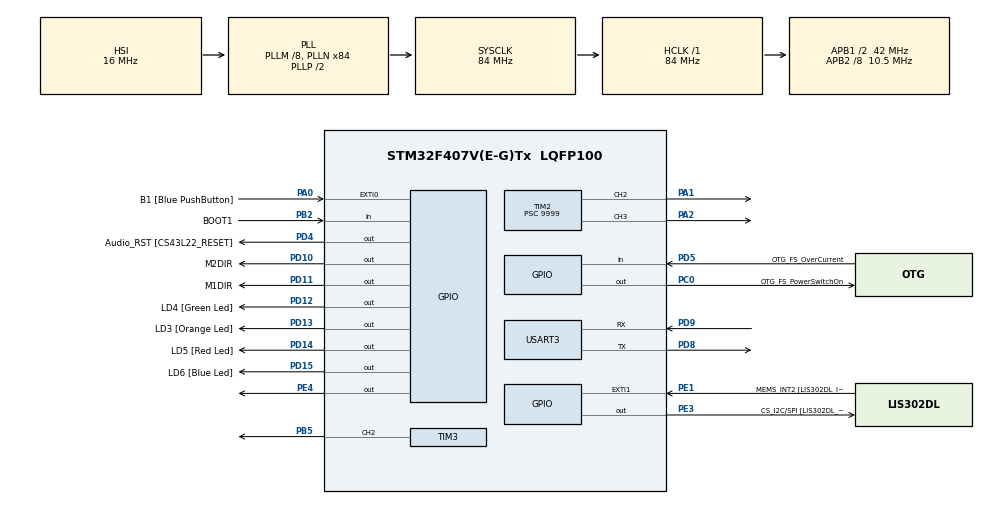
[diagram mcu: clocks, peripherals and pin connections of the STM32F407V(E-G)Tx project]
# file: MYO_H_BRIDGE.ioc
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Mcu.Family=STM32F4
Mcu.Name=STM32F407V(E-G)Tx
Mcu.Package=LQFP100
NVIC.PriorityGroup=NVIC_PRIORITYGROUP_0
PA0-WKUP.GPIO_Label=B1 [Blue PushButton]
PA0-WKUP.Signal=GPXTI0
PA1.GPIO_PuPd=GPIO_PULLUP
PA1.Signal=S_TIM2_CH2
PA10.GPIO_Label=OTG_FS_ID
PA10.GPIO_Mode=GPIO_MODE_AF_PP
PA10.GPIO_PuPd=GPIO_NOPULL
PA10.GPIO_Speed=GPIO_SPEED_FREQ_LOW
PA10.Signal=USB_OTG_FS_ID
PA11.GPIO_Label=OTG_FS_DM
PA11.GPIO_Mode=GPIO_MODE_AF_PP
PA11.GPIO_PuPd=GPIO_NOPULL
PA11.GPIO_Speed=GPIO_SPEED_FREQ_LOW
PA11.Signal=USB_OTG_FS_DM
PA12.GPIO_Label=OTG_FS_DP
PA12.GPIO_Mode=GPIO_MODE_AF_PP
PA12.GPIO_PuPd=GPIO_NOPULL
PA12.GPIO_Speed=GPIO_SPEED_FREQ_LOW
PA12.Signal=USB_OTG_FS_DP
PA13.GPIO_Label=SWDIO
PA13.Signal=SYS_JTMS-SWDIO
PA14.GPIO_Label=SWCLK
PA14.Signal=SYS_JTCK-SWCLK
PA2.GPIO_PuPd=GPIO_PULLUP
PA2.Signal=S_TIM2_CH3
PA4.GPIO_Label=I2S3_WS [CS43L22_LRCK]
PA4.GPIO_Mode=GPIO_MODE_AF_PP
PA4.GPIO_PuPd=GPIO_NOPULL
PA4.GPIO_Speed=GPIO_SPEED_FREQ_LOW
PA4.Signal=I2S3_WS
PA5.GPIO_Label=SPI1_SCK [LIS302DL_SCL/SPC]
PA5.GPIO_Mode=GPIO_MODE_AF_PP
PA5.GPIO_PuPd=GPIO_NOPULL
PA5.GPIO_Speed=GPIO_SPEED_FREQ_LOW
PA5.Signal=SPI1_SCK
PA6.GPIO_Label=SPI1_MISO [LIS302DL_SDO]
PA6.GPIO_Mode=GPIO_MODE_AF_PP
PA6.GPIO_PuPd=GPIO_NOPULL
PA6.GPIO_Speed=GPIO_SPEED_FREQ_LOW
PA6.Signal=SPI1_MISO
PA7.GPIO_Label=SPI1_MOSI [LIS302DL_SDA/SDI/SDO]
PA7.GPIO_Mode=GPIO_MODE_AF_PP
PA7.GPIO_PuPd=GPIO_NOPULL
PA7.GPIO_Speed=GPIO_SPEED_FREQ_LOW
PA7.Signal=SPI1_MOSI
PA9.GPIO_Label=VBUS_FS
PA9.GPIO_Mode=GPIO_MODE_INPUT
PA9.GPIO_PuPd=GPIO_NOPULL
PA9.Signal=USB_OTG_FS_VBUS
PB10.GPIO_Label=CLK_IN [MP45DT02_CLK]
PB10.GPIO_Mode=GPIO_MODE_AF_PP
PB10.GPIO_PuPd=GPIO_NOPULL
PB10.GPIO_Speed=GPIO_SPEED_FREQ_LOW
PB10.Signal=I2S2_CK
PB2.GPIO_Label=BOOT1
PB2.GPIO_Mode=GPIO_MODE_INPUT
PB2.GPIO_PuPd=GPIO_NOPULL
PB2.Signal=GPIO_Input
PB3.GPIO_Label=SWO
PB3.Signal=SYS_JTDO-SWO
PB5.Signal=S_TIM3_CH2
PB6.GPIO_Label=Audio_SCL [CS43L22_SCL]
PB6.GPIO_Mode=GPIO_MODE_AF_OD
PB6.GPIO_PuPd=GPIO_NOPULL
PB6.GPIO_Speed=GPIO_SPEED_FREQ_LOW
PB6.Signal=I2C1_SCL
PB9.GPIO_Label=Audio_SDA [CS43L22_SDA]
PB9.GPIO_Mode=GPIO_MODE_AF_OD
PB9.GPIO_PuPd=GPIO_NOPULL
PB9.GPIO_Speed=GPIO_SPEED_FREQ_LOW
PB9.Signal=I2C1_SDA
PC0.GPIO_Label=OTG_FS_PowerSwitchOn
PC0.GPIO_PuPd=GPIO_NOPULL
PC0.GPIO_Speed=GPIO_SPEED_FREQ_LOW
PC0.PinState=GPIO_PIN_SET
PC0.Signal=GPIO_Output
PC10.GPIO_Label=I2S3_SCK [CS43L22_SCLK]
PC10.GPIO_Mode=GPIO_MODE_AF_PP
PC10.GPIO_PuPd=GPIO_NOPULL
PC10.GPIO_Speed=GPIO_SPEED_FREQ_LOW
PC10.Signal=I2S3_CK
PC12.GPIO_Label=I2S3_SD [CS43L22_SDIN]
PC12.GPIO_Mode=GPIO_MODE_AF_PP
PC12.GPIO_PuPd=GPIO_NOPULL
PC12.GPIO_Speed=GPIO_SPEED_FREQ_LOW
PC12.Signal=I2S3_SD
PC14-OSC32_IN.GPIO_Label=PC14-OSC32_IN
PC14-OSC32_IN.Signal=RCC_OSC32_IN
PC15-OSC32_OUT.GPIO_Label=PC15-OSC32_OUT
PC15-OSC32_OUT.Signal=RCC_OSC32_OUT
PC3.GPIO_Label=PDM_OUT [MP45DT02_DOUT]
PC3.GPIO_Mode=GPIO_MODE_AF_PP
PC3.GPIO_PuPd=GPIO_NOPULL
PC3.GPIO_Speed=GPIO_SPEED_FREQ_LOW
PC3.Signal=I2S2_SD
PC7.GPIO_Label=I2S3_MCK [CS43L22_MCLK]
PC7.GPIO_Mode=GPIO_MODE_AF_PP
PC7.GPIO_PuPd=GPIO_NOPULL
PC7.GPIO_Speed=GPIO_SPEED_FREQ_LOW
PC7.Signal=I2S3_MCK
PD10.GPIO_Label=M2DIR
PD10.Signal=GPIO_Output
PD11.GPIO_Label=M1DIR
PD11.Signal=GPIO_Output
PD12.GPIO_Label=LD4 [Green Led]
PD12.GPIO_PuPd=GPIO_NOPULL
PD12.GPIO_Speed=GPIO_SPEED_FREQ_LOW
PD12.Signal=GPIO_Output
PD13.GPIO_Label=LD3 [Orange Led]
PD13.GPIO_PuPd=GPIO_NOPULL
PD13.GPIO_Speed=GPIO_SPEED_FREQ_LOW
PD13.Signal=GPIO_Output
PD14.GPIO_Label=LD5 [Red Led]
PD14.GPIO_PuPd=GPIO_NOPULL
PD14.GPIO_Speed=GPIO_SPEED_FREQ_LOW
PD14.Signal=GPIO_Output
PD15.GPIO_Label=LD6 [Blue Led]
PD15.GPIO_PuPd=GPIO_NOPULL
PD15.GPIO_Speed=GPIO_SPEED_FREQ_LOW
PD15.Signal=GPIO_Output
PD4.GPIO_Label=Audio_RST [CS43L22_RESET]
PD4.GPIO_PuPd=GPIO_NOPULL
PD4.GPIO_Speed=GPIO_SPEED_FREQ_LOW
PD4.Signal=GPIO_Output
PD5.GPIO_Label=OTG_FS_OverCurrent
PD5.GPIO_Mode=GPIO_MODE_INPUT
PD5.GPIO_PuPd=GPIO_NOPULL
PD5.Signal=GPIO_Input
PD8.Mode=Asynchronous
PD8.Signal=USART3_TX
PD9.Mode=Asynchronous
PD9.Signal=USART3_RX
PE1.GPIO_Label=MEMS_INT2 [LIS302DL_INT2]
PE1.GPIO_ModeDefaultEXTI=GPIO_MODE_EVT_RISING
PE1.GPIO_PuPd=GPIO_NOPULL
PE1.Signal=GPXTI1
PE3.GPIO_Label=CS_I2C/SPI [LIS302DL_CS_I2C/SPI]
PE3.GPIO_PuPd=GPIO_NOPULL
PE3.GPIO_Speed=GPIO_SPEED_FREQ_LOW
PE3.Signal=GPIO_Output
PE4.Signal=GPIO_Output
PH0-OSC_IN.GPIO_Label=PH0-OSC_IN
PH0-OSC_IN.Signal=RCC_OSC_IN
PH1-OSC_OUT.GPIO_Label=PH1-OSC_OUT
PH1-OSC_OUT.Signal=RCC_OSC_OUT
ProjectManager.HeapSize=0x200
ProjectManager.StackSize=0x400
ProjectManager.TargetToolchain=SW4STM32
RCC.48MHZClocksFreq_Value=24000000
RCC.AHBFreq_Value=84000000
RCC.APB1CLKDivider=RCC_HCLK_DIV2
RCC.APB1Freq_Value=42000000
RCC.APB1TimFreq_Value=84000000
RCC.APB2CLKDivider=RCC_HCLK_DIV8
RCC.APB2Freq_Value=10500000
RCC.APB2TimFreq_Value=21000000
RCC.CortexFreq_Value=84000000
RCC.HCLKFreq_Value=84000000
RCC.HSE_VALUE=8000000
RCC.HSI_VALUE=16000000
RCC.LSE_VALUE=32768
RCC.PLLM=8
RCC.PLLN=84
RCC.PLLQ=7
RCC.SYSCLKFreq_VALUE=84000000
RCC.SYSCLKSource=RCC_SYSCLKSOURCE_PLLCLK
RCC.VCOOutputFreq_Value=168000000
SH.S_TIM2_CH2.0=TIM2_CH2,PWM Generation2 CH2
SH.S_TIM2_CH3.0=TIM2_CH3,PWM Generation3 CH3
SH.S_TIM3_CH2.0=TIM3_CH2,PWM Generation2 CH2
TIM2.Channel-PWM\ Generation2\ CH2=TIM_CHANNEL_2
TIM2.Channel-PWM\ Generation3\ CH3=TIM_CHANNEL_3
TIM2.Period=299
TIM2.Prescaler=9999
TIM3.Channel-PWM\ Generation2\ CH2=TIM_CHANNEL_2
USART3.VirtualMode=VM_ASYNC
board=STM32F4DISCOVERY

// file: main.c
/**
  ******************************************************************************
  * File Name          : main.c
  * Description        : Main program body
  ******************************************************************************
  ** This notice applies to any and all portions of this file
  * that are not between comment pairs USER CODE BEGIN and
  * USER CODE END. Other portions of this file, whether
  * inserted by the user or by software development tools
  * are owned by their respective copyright owners.
  *
  * COPYRIGHT(c) 2018 STMicroelectronics
  *
  * Redistribution and use in source and binary forms, with or without modification,
  * are permitted provided that the following conditions are met:
  *   1. Redistributions of source code must retain the above copyright notice,
  *      this list of conditions and the following disclaimer.
  *   2. Redistributions in binary form must reproduce the above copyright notice,
  *      this list of conditions and the following disclaimer in the documentation
  *      and/or other materials provided with the distribution.
  *   3. Neither the name of STMicroelectronics nor the names of its contributors
  *      may be used to endorse or promote products derived from this software
  *      without specific prior written permission.
  *
  * THIS SOFTWARE IS PROVIDED BY THE COPYRIGHT HOLDERS AND CONTRIBUTORS "AS IS"
  * AND ANY EXPRESS OR IMPLIED WARRANTIES, INCLUDING, BUT NOT LIMITED TO, THE
  * IMPLIED WARRANTIES OF MERCHANTABILITY AND FITNESS FOR A PARTICULAR PURPOSE ARE
  * DISCLAIMED. IN NO EVENT SHALL THE COPYRIGHT HOLDER OR CONTRIBUTORS BE LIABLE
  * FOR ANY DIRECT, INDIRECT, INCIDENTAL, SPECIAL, EXEMPLARY, OR CONSEQUENTIAL
  * DAMAGES (INCLUDING, BUT NOT LIMITED TO, PROCUREMENT OF SUBSTITUTE GOODS OR
  * SERVICES; LOSS OF USE, DATA, OR PROFITS; OR BUSINESS INTERRUPTION) HOWEVER
  * CAUSED AND ON ANY THEORY OF LIABILITY, WHETHER IN CONTRACT, STRICT LIABILITY,
  * OR TORT (INCLUDING NEGLIGENCE OR OTHERWISE) ARISING IN ANY WAY OUT OF THE USE
  * OF THIS SOFTWARE, EVEN IF ADVISED OF THE POSSIBILITY OF SUCH DAMAGE.
  *
  ******************************************************************************
  */

#include "main.h"
#include "stm32f4xx_hal.h"

TIM_HandleTypeDef htim2;
TIM_HandleTypeDef htim3;

UART_HandleTypeDef huart3;

/* USER CODE BEGIN PV */
/* Private variables ---------------------------------------------------------*/
int counter = 0;
int PWM_counter = 1;
/* USER CODE END PV */

void SystemClock_Config(void);
static void MX_GPIO_Init(void);
static void MX_TIM2_Init(void);
static void MX_TIM3_Init(void);
static void MX_USART3_UART_Init(void);
void HAL_TIM_MspPostInit(TIM_HandleTypeDef *htim);

/* USER CODE BEGIN PFP */
/* Private function prototypes -----------------------------------------------*/
/*void HAL_TIM_PeriodElapsedCallback(TIM_HandleTypeDef *htim)
{
	if (htim-> Instance == TIM2)
	{
		HAL_GPIO_TogglePin(LD6_GPIO_Port,LD6_Pin);
	}
}*/

/* USER CODE END PFP */

int main(void)
{

  /* MCU Configuration----------------------------------------------------------*/

  /* Reset of all peripherals, Initializes the Flash interface and the Systick. */
  HAL_Init();

  /* Configure the system clock */
  SystemClock_Config();

  /* Initialize all configured peripherals */
  MX_GPIO_Init();
  MX_TIM2_Init();
  MX_TIM3_Init();
  MX_USART3_UART_Init();

  /* USER CODE BEGIN 2 */
  init_BridgeDriver();
  /* USER CODE END 2 */

  /* Infinite loop */
  /* USER CODE BEGIN WHILE */
  while (1)
  {

		if(HAL_GPIO_ReadPin(B1_GPIO_Port,B1_Pin)==GPIO_PIN_SET)
		{
			HAL_GPIO_WritePin(LD3_GPIO_Port,LD3_Pin,GPIO_PIN_SET);
			HAL_GPIO_WritePin(M2DIR_GPIO_Port,M2DIR_Pin,GPIO_PIN_SET);
			//HAL_Delay(1000);
			for(counter=0;counter <= 20;++counter)
			{
				HAL_Delay(50);
				if(counter>10 && counter<20)
				{
					HAL_GPIO_WritePin(LD4_GPIO_Port,LD4_Pin,GPIO_PIN_SET);

				}
				else if(counter == 10)
				{
					++PWM_counter;
				}
				else
				{
					HAL_GPIO_WritePin(LD4_GPIO_Port,LD4_Pin,GPIO_PIN_RESET);
				}
			}
		}
		else
		{
			HAL_GPIO_WritePin(LD3_GPIO_Port,LD3_Pin,GPIO_PIN_RESET);

		}

  }
  /* USER CODE END WHILE */

}

/** System Clock Configuration
*/
void SystemClock_Config(void)
{

  RCC_OscInitTypeDef RCC_OscInitStruct;
  RCC_ClkInitTypeDef RCC_ClkInitStruct;

    /**Configure the main internal regulator output voltage
    */
  __HAL_RCC_PWR_CLK_ENABLE();

  __HAL_PWR_VOLTAGESCALING_CONFIG(PWR_REGULATOR_VOLTAGE_SCALE1);

    /**Initializes the CPU, AHB and APB busses clocks
    */
  RCC_OscInitStruct.OscillatorType = RCC_OSCILLATORTYPE_HSI;
  RCC_OscInitStruct.HSIState = RCC_HSI_ON;
  RCC_OscInitStruct.HSICalibrationValue = 16;
  RCC_OscInitStruct.PLL.PLLState = RCC_PLL_ON;
  RCC_OscInitStruct.PLL.PLLSource = RCC_PLLSOURCE_HSI;
  RCC_OscInitStruct.PLL.PLLM = 8;
  RCC_OscInitStruct.PLL.PLLN = 84;
  RCC_OscInitStruct.PLL.PLLP = RCC_PLLP_DIV2;
  RCC_OscInitStruct.PLL.PLLQ = 7;
  if (HAL_RCC_OscConfig(&RCC_OscInitStruct) != HAL_OK)
  {
    _Error_Handler(__FILE__, __LINE__);
  }

    /**Initializes the CPU, AHB and APB busses clocks
    */
  RCC_ClkInitStruct.ClockType = RCC_CLOCKTYPE_HCLK|RCC_CLOCKTYPE_SYSCLK
                              |RCC_CLOCKTYPE_PCLK1|RCC_CLOCKTYPE_PCLK2;
  RCC_ClkInitStruct.SYSCLKSource = RCC_SYSCLKSOURCE_PLLCLK;
  RCC_ClkInitStruct.AHBCLKDivider = RCC_SYSCLK_DIV1;
  RCC_ClkInitStruct.APB1CLKDivider = RCC_HCLK_DIV2;
  RCC_ClkInitStruct.APB2CLKDivider = RCC_HCLK_DIV8;

  if (HAL_RCC_ClockConfig(&RCC_ClkInitStruct, FLASH_LATENCY_2) != HAL_OK)
  {
    _Error_Handler(__FILE__, __LINE__);
  }

    /**Configure the Systick interrupt time
    */
  HAL_SYSTICK_Config(HAL_RCC_GetHCLKFreq()/1000);

    /**Configure the Systick
    */
  HAL_SYSTICK_CLKSourceConfig(SYSTICK_CLKSOURCE_HCLK);

  /* SysTick_IRQn interrupt configuration */
  HAL_NVIC_SetPriority(SysTick_IRQn, 0, 0);
}

/* TIM2 init function */
static void MX_TIM2_Init(void)
{

  TIM_MasterConfigTypeDef sMasterConfig;
  TIM_OC_InitTypeDef sConfigOC;

  htim2.Instance = TIM2;
  htim2.Init.Prescaler = 9999;
  htim2.Init.CounterMode = TIM_COUNTERMODE_UP;
  htim2.Init.Period = 299;
  htim2.Init.ClockDivision = TIM_CLOCKDIVISION_DIV1;
  if (HAL_TIM_PWM_Init(&htim2) != HAL_OK)
  {
    _Error_Handler(__FILE__, __LINE__);
  }

  sMasterConfig.MasterOutputTrigger = TIM_TRGO_RESET;
  sMasterConfig.MasterSlaveMode = TIM_MASTERSLAVEMODE_DISABLE;
  if (HAL_TIMEx_MasterConfigSynchronization(&htim2, &sMasterConfig) != HAL_OK)
  {
    _Error_Handler(__FILE__, __LINE__);
  }

  sConfigOC.OCMode = TIM_OCMODE_PWM1;
  sConfigOC.Pulse = 0;
  sConfigOC.OCPolarity = TIM_OCPOLARITY_HIGH;
  sConfigOC.OCFastMode = TIM_OCFAST_DISABLE;
  if (HAL_TIM_PWM_ConfigChannel(&htim2, &sConfigOC, TIM_CHANNEL_2) != HAL_OK)
  {
    _Error_Handler(__FILE__, __LINE__);
  }

  if (HAL_TIM_PWM_ConfigChannel(&htim2, &sConfigOC, TIM_CHANNEL_3) != HAL_OK)
  {
    _Error_Handler(__FILE__, __LINE__);
  }

  HAL_TIM_MspPostInit(&htim2);

}

/* TIM3 init function */
static void MX_TIM3_Init(void)
{

  TIM_MasterConfigTypeDef sMasterConfig;
  TIM_OC_InitTypeDef sConfigOC;

  htim3.Instance = TIM3;
  htim3.Init.Prescaler = 0;
  htim3.Init.CounterMode = TIM_COUNTERMODE_UP;
  htim3.Init.Period = 0;
  htim3.Init.ClockDivision = TIM_CLOCKDIVISION_DIV1;
  if (HAL_TIM_PWM_Init(&htim3) != HAL_OK)
  {
    _Error_Handler(__FILE__, __LINE__);
  }

  sMasterConfig.MasterOutputTrigger = TIM_TRGO_RESET;
  sMasterConfig.MasterSlaveMode = TIM_MASTERSLAVEMODE_DISABLE;
  if (HAL_TIMEx_MasterConfigSynchronization(&htim3, &sMasterConfig) != HAL_OK)
  {
    _Error_Handler(__FILE__, __LINE__);
  }

  sConfigOC.OCMode = TIM_OCMODE_PWM1;
  sConfigOC.Pulse = 0;
  sConfigOC.OCPolarity = TIM_OCPOLARITY_HIGH;
  sConfigOC.OCFastMode = TIM_OCFAST_DISABLE;
  if (HAL_TIM_PWM_ConfigChannel(&htim3, &sConfigOC, TIM_CHANNEL_2) != HAL_OK)
  {
    _Error_Handler(__FILE__, __LINE__);
  }

  HAL_TIM_MspPostInit(&htim3);

}

/* USART3 init function */
static void MX_USART3_UART_Init(void)
{

  huart3.Instance = USART3;
  huart3.Init.BaudRate = 115200;
  huart3.Init.WordLength = UART_WORDLENGTH_8B;
  huart3.Init.StopBits = UART_STOPBITS_1;
  huart3.Init.Parity = UART_PARITY_NONE;
  huart3.Init.Mode = UART_MODE_TX_RX;
  huart3.Init.HwFlowCtl = UART_HWCONTROL_NONE;
  huart3.Init.OverSampling = UART_OVERSAMPLING_16;
  if (HAL_UART_Init(&huart3) != HAL_OK)
  {
    _Error_Handler(__FILE__, __LINE__);
  }

}

/** Configure pins as
        * Analog
        * Input
        * Output
        * EVENT_OUT
        * EXTI
     PC3   ------> I2S2_SD
     PA4   ------> I2S3_WS
     PA5   ------> SPI1_SCK
     PA6   ------> SPI1_MISO
     PA7   ------> SPI1_MOSI
     PB10   ------> I2S2_CK
     PC7   ------> I2S3_MCK
     PA9   ------> USB_OTG_FS_VBUS
     PA10   ------> USB_OTG_FS_ID
     PA11   ------> USB_OTG_FS_DM
     PA12   ------> USB_OTG_FS_DP
     PC10   ------> I2S3_CK
     PC12   ------> I2S3_SD
     PB6   ------> I2C1_SCL
     PB9   ------> I2C1_SDA
*/
static void MX_GPIO_Init(void)
{

  GPIO_InitTypeDef GPIO_InitStruct;

  /* GPIO Ports Clock Enable */
  __HAL_RCC_GPIOE_CLK_ENABLE();
  __HAL_RCC_GPIOC_CLK_ENABLE();
  __HAL_RCC_GPIOH_CLK_ENABLE();
  __HAL_RCC_GPIOA_CLK_ENABLE();
  __HAL_RCC_GPIOB_CLK_ENABLE();
  __HAL_RCC_GPIOD_CLK_ENABLE();

  /*Configure GPIO pin Output Level */
  HAL_GPIO_WritePin(GPIOE, CS_I2C_SPI_Pin|GPIO_PIN_4, GPIO_PIN_RESET);

  /*Configure GPIO pin Output Level */
  HAL_GPIO_WritePin(OTG_FS_PowerSwitchOn_GPIO_Port, OTG_FS_PowerSwitchOn_Pin, GPIO_PIN_SET);

  /*Configure GPIO pin Output Level */
  HAL_GPIO_WritePin(GPIOD, M2DIR_Pin|M1DIR_Pin|LD4_Pin|LD3_Pin
                          |LD5_Pin|LD6_Pin|Audio_RST_Pin, GPIO_PIN_RESET);

  /*Configure GPIO pins : CS_I2C_SPI_Pin PE4 */
  GPIO_InitStruct.Pin = CS_I2C_SPI_Pin|GPIO_PIN_4;
  GPIO_InitStruct.Mode = GPIO_MODE_OUTPUT_PP;
  GPIO_InitStruct.Pull = GPIO_NOPULL;
  GPIO_InitStruct.Speed = GPIO_SPEED_FREQ_LOW;
  HAL_GPIO_Init(GPIOE, &GPIO_InitStruct);

  /*Configure GPIO pin : OTG_FS_PowerSwitchOn_Pin */
  GPIO_InitStruct.Pin = OTG_FS_PowerSwitchOn_Pin;
  GPIO_InitStruct.Mode = GPIO_MODE_OUTPUT_PP;
  GPIO_InitStruct.Pull = GPIO_NOPULL;
  GPIO_InitStruct.Speed = GPIO_SPEED_FREQ_LOW;
  HAL_GPIO_Init(OTG_FS_PowerSwitchOn_GPIO_Port, &GPIO_InitStruct);

  /*Configure GPIO pin : PDM_OUT_Pin */
  GPIO_InitStruct.Pin = PDM_OUT_Pin;
  GPIO_InitStruct.Mode = GPIO_MODE_AF_PP;
  GPIO_InitStruct.Pull = GPIO_NOPULL;
  GPIO_InitStruct.Speed = GPIO_SPEED_FREQ_LOW;
  GPIO_InitStruct.Alternate = GPIO_AF5_SPI2;
  HAL_GPIO_Init(PDM_OUT_GPIO_Port, &GPIO_InitStruct);

  /*Configure GPIO pin : B1_Pin */
  GPIO_InitStruct.Pin = B1_Pin;
  GPIO_InitStruct.Mode = GPIO_MODE_IT_RISING;
  GPIO_InitStruct.Pull = GPIO_NOPULL;
  HAL_GPIO_Init(B1_GPIO_Port, &GPIO_InitStruct);

  /*Configure GPIO pin : I2S3_WS_Pin */
  GPIO_InitStruct.Pin = I2S3_WS_Pin;
  GPIO_InitStruct.Mode = GPIO_MODE_AF_PP;
  GPIO_InitStruct.Pull = GPIO_NOPULL;
  GPIO_InitStruct.Speed = GPIO_SPEED_FREQ_LOW;
  GPIO_InitStruct.Alternate = GPIO_AF6_SPI3;
  HAL_GPIO_Init(I2S3_WS_GPIO_Port, &GPIO_InitStruct);

  /*Configure GPIO pins : SPI1_SCK_Pin SPI1_MISO_Pin SPI1_MOSI_Pin */
  GPIO_InitStruct.Pin = SPI1_SCK_Pin|SPI1_MISO_Pin|SPI1_MOSI_Pin;
  GPIO_InitStruct.Mode = GPIO_MODE_AF_PP;
  GPIO_InitStruct.Pull = GPIO_NOPULL;
  GPIO_InitStruct.Speed = GPIO_SPEED_FREQ_LOW;
  GPIO_InitStruct.Alternate = GPIO_AF5_SPI1;
  HAL_GPIO_Init(GPIOA, &GPIO_InitStruct);

  /*Configure GPIO pin : BOOT1_Pin */
  GPIO_InitStruct.Pin = BOOT1_Pin;
  GPIO_InitStruct.Mode = GPIO_MODE_INPUT;
  GPIO_InitStruct.Pull = GPIO_NOPULL;
  HAL_GPIO_Init(BOOT1_GPIO_Port, &GPIO_InitStruct);

  /*Configure GPIO pin : CLK_IN_Pin */
  GPIO_InitStruct.Pin = CLK_IN_Pin;
  GPIO_InitStruct.Mode = GPIO_MODE_AF_PP;
  GPIO_InitStruct.Pull = GPIO_NOPULL;
  GPIO_InitStruct.Speed = GPIO_SPEED_FREQ_LOW;
  GPIO_InitStruct.Alternate = GPIO_AF5_SPI2;
  HAL_GPIO_Init(CLK_IN_GPIO_Port, &GPIO_InitStruct);

  /*Configure GPIO pins : M2DIR_Pin M1DIR_Pin LD4_Pin LD3_Pin
                           LD5_Pin LD6_Pin Audio_RST_Pin */
  GPIO_InitStruct.Pin = M2DIR_Pin|M1DIR_Pin|LD4_Pin|LD3_Pin
                          |LD5_Pin|LD6_Pin|Audio_RST_Pin;
  GPIO_InitStruct.Mode = GPIO_MODE_OUTPUT_PP;
  GPIO_InitStruct.Pull = GPIO_NOPULL;
  GPIO_InitStruct.Speed = GPIO_SPEED_FREQ_LOW;
  HAL_GPIO_Init(GPIOD, &GPIO_InitStruct);

  /*Configure GPIO pins : I2S3_MCK_Pin I2S3_SCK_Pin I2S3_SD_Pin */
  GPIO_InitStruct.Pin = I2S3_MCK_Pin|I2S3_SCK_Pin|I2S3_SD_Pin;
  GPIO_InitStruct.Mode = GPIO_MODE_AF_PP;
  GPIO_InitStruct.Pull = GPIO_NOPULL;
  GPIO_InitStruct.Speed = GPIO_SPEED_FREQ_LOW;
  GPIO_InitStruct.Alternate = GPIO_AF6_SPI3;
  HAL_GPIO_Init(GPIOC, &GPIO_InitStruct);

  /*Configure GPIO pin : VBUS_FS_Pin */
  GPIO_InitStruct.Pin = VBUS_FS_Pin;
  GPIO_InitStruct.Mode = GPIO_MODE_INPUT;
  GPIO_InitStruct.Pull = GPIO_NOPULL;
  HAL_GPIO_Init(VBUS_FS_GPIO_Port, &GPIO_InitStruct);

  /*Configure GPIO pins : OTG_FS_ID_Pin OTG_FS_DM_Pin OTG_FS_DP_Pin */
  GPIO_InitStruct.Pin = OTG_FS_ID_Pin|OTG_FS_DM_Pin|OTG_FS_DP_Pin;
  GPIO_InitStruct.Mode = GPIO_MODE_AF_PP;
  GPIO_InitStruct.Pull = GPIO_NOPULL;
  GPIO_InitStruct.Speed = GPIO_SPEED_FREQ_LOW;
  GPIO_InitStruct.Alternate = GPIO_AF10_OTG_FS;
  HAL_GPIO_Init(GPIOA, &GPIO_InitStruct);

  /*Configure GPIO pin : OTG_FS_OverCurrent_Pin */
  GPIO_InitStruct.Pin = OTG_FS_OverCurrent_Pin;
  GPIO_InitStruct.Mode = GPIO_MODE_INPUT;
  GPIO_InitStruct.Pull = GPIO_NOPULL;
  HAL_GPIO_Init(OTG_FS_OverCurrent_GPIO_Port, &GPIO_InitStruct);

  /*Configure GPIO pins : Audio_SCL_Pin Audio_SDA_Pin */
  GPIO_InitStruct.Pin = Audio_SCL_Pin|Audio_SDA_Pin;
  GPIO_InitStruct.Mode = GPIO_MODE_AF_OD;
  GPIO_InitStruct.Pull = GPIO_PULLUP;
  GPIO_InitStruct.Speed = GPIO_SPEED_FREQ_LOW;
  GPIO_InitStruct.Alternate = GPIO_AF4_I2C1;
  HAL_GPIO_Init(GPIOB, &GPIO_InitStruct);

  /*Configure GPIO pin : MEMS_INT2_Pin */
  GPIO_InitStruct.Pin = MEMS_INT2_Pin;
  GPIO_InitStruct.Mode = GPIO_MODE_EVT_RISING;
  GPIO_InitStruct.Pull = GPIO_NOPULL;
  HAL_GPIO_Init(MEMS_INT2_GPIO_Port, &GPIO_InitStruct);

}

void _Error_Handler(char * file, int line)
{
  while(1)
  {
  }
}

/************************ (C) COPYRIGHT STMicroelectronics *****END OF FILE****/
